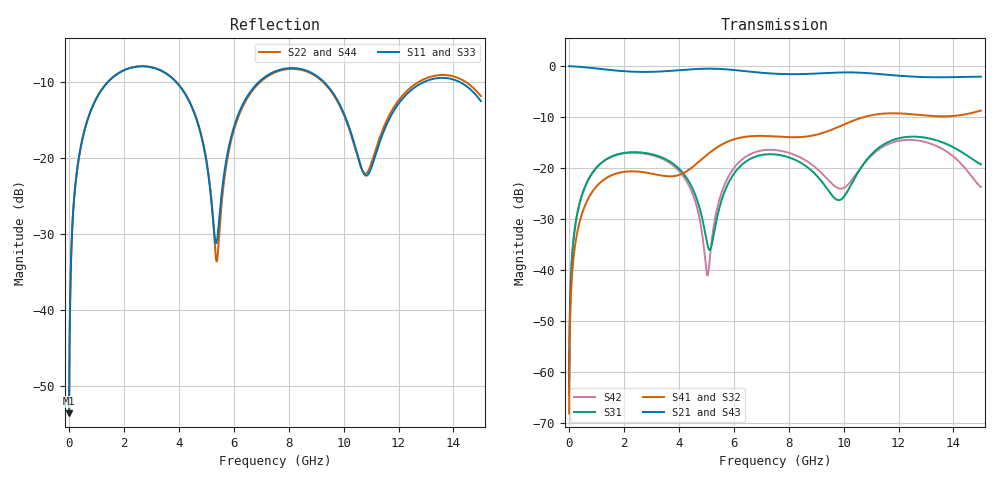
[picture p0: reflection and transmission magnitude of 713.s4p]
! Created with skrf 1.8.0 (http://scikit-rf.org).
# GHz S RI R 50.0
!freq ReS11 ImS11 ReS12 ImS12 ReS13 ImS13
! ReS14 ImS14
! ReS21 ImS21 ReS22 ImS22 ReS23 ImS23
! ReS24 ImS24
! ReS31 ImS31 ReS32 ImS32 ReS33 ImS33
! ReS34 ImS34
! ReS41 ImS41 ReS42 ImS42 ReS43 ImS43
! ReS44 ImS44
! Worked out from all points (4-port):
!   2499 points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, 5 MHz to 15 GHz, reference 50 ohm
!   strongest paths, dB at 5 MHz, 3.476 GHz, 7.19 GHz, 11.1 GHz, 15 GHz:
!     S21: 0.0, -1.0, -1.4, -1.5, -2.1
!     S43: 0.0, -1.0, -1.4, -1.5, -2.1
!     S41: -68.1, -21.5, -13.7, -9.6, -8.7
!     S32: -68.1, -21.6, -13.7, -9.6, -8.7
!     S31: -64.4, -18.1, -17.3, -16.9, -19.3
!     S42: -64.4, -18.4, -16.4, -17.1, -23.7
!   lowest |S11| = -53.5 dB at 5 MHz (marker M1), VSWR 1.00, Z = 50.2 + j0.129 ohm
!   |S11| at or under -10 dB: start of sweep to 1.429 GHz; 3.889 GHz to 6.929 GHz (3.039 GHz wide, 56.2 % of centre); 9.271 GHz to 12.96 GHz (3.685 GHz wide, 33.2 % of centre)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
0.005  0.00167 0.00128  0.9983 -0.00326  8.19e-05 0.000598  -7.99e-05 -0.000386
       0.9983 -0.00326  0.00167 0.00128  -7.99e-05 -0.000386  8.18e-05 0.000599
       8.19e-05 0.000598  -7.99e-05 -0.000386  0.00167 0.00128  0.9983 -0.00326
       -7.99e-05 -0.000386  8.18e-05 0.000599  0.9983 -0.00326  0.00167 0.00128
0.3126303  0.0248 0.0842  0.9662 -0.2025  0.0105 0.0355  -0.0088 -0.0226
           0.9662 -0.2025  0.0249 0.0842  -0.0088 -0.0226  0.0103 0.0355
           0.0105 0.0355  -0.0088 -0.0226  0.0248 0.0842  0.9662 -0.2025
           -0.0088 -0.0226  0.0103 0.0355  0.9662 -0.2025  0.0249 0.0842
1.569404  0.2825 0.1787  0.5267 -0.744  0.1208 0.0496  -0.0854 -0.00313
          0.5267 -0.744  0.2835 0.1779  -0.0853 -0.00319  0.1181 0.0535
          0.1208 0.0496  -0.0853 -0.00319  0.2825 0.1786  0.5267 -0.744
          -0.0854 -0.00313  0.1181 0.0535  0.5267 -0.744  0.2834 0.178
5.377241  0.0277 0.00415  -0.9392 -0.0501  -0.00722 0.0306  -0.00324 0.1585
          -0.9392 -0.0501  0.0209 -0.000691  -0.00433 0.1585  0.0192 0.0332
          -0.00722 0.0306  -0.00433 0.1585  0.0272 0.00519  -0.9392 -0.0499
          -0.00324 0.1585  0.0192 0.0332  -0.9392 -0.0499  0.0212 0.000323
8.253439  0.3867 -0.0209  -0.00887 0.8334  0.0935 -0.0749  0.1957 -0.0447
          -0.00887 0.8334  0.3824 -0.0147  0.1957 -0.0425  0.0954 -0.0935
          0.0935 -0.0749  0.1957 -0.0425  0.3884 -0.0206  -0.00949 0.8328
          0.1957 -0.0447  0.0954 -0.0935  -0.00949 0.8328  0.3836 -0.0144
11.08587  0.0869 0.0366  0.8436 -0.0512  0.0455 0.135  -0.038 -0.3302
          0.8436 -0.0512  0.0913 0.0441  -0.034 -0.3304  0.0275 0.1354
          0.0455 0.135  -0.034 -0.3304  0.0873 0.0341  0.844 -0.0488
          -0.038 -0.3302  0.0275 0.1354  0.844 -0.0488  0.0903 0.0405
15  0.2093 -0.1082  -0.4863 -0.6197  -0.0771 -0.0767  -0.2835 0.2322
    -0.4863 -0.6197  0.2193 -0.1285  -0.2883 0.2262  -0.0509 -0.0409
    -0.0771 -0.0767  -0.2883 0.2262  0.2049 -0.1084  -0.4851 -0.6218
    -0.2835 0.2322  -0.0509 -0.0409  -0.4851 -0.6218  0.2193 -0.1239
